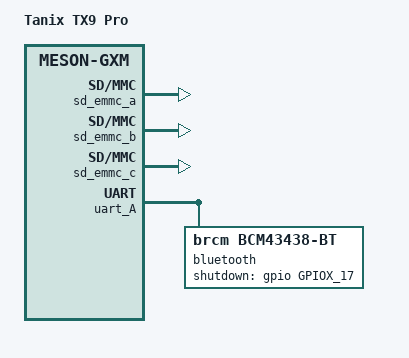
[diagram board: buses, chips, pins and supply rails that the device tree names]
// SPDX-License-Identifier: (GPL-2.0+ OR MIT)
/*
 * Copyright (c) 2022 Flippy
 */

/dts-v1/;

#include "meson-gxm-q200.dts"

/ {
	compatible = "tanix,tx9-pro", "amlogic,gxm";
	model = "Tanix TX9 Pro";
	
	openvfd {
		compatible = "open,vfd";
		dev_name = "openvfd";
                status = "okay";
        };
};

&ethmac {
	snps,aal;
	snps,txpbl = <0x8>;
	snps,rxpbl = <0x8>;
};

&sd_emmc_a {
        status = "okay";
};

&sd_emmc_b {
        status = "okay";
};

&sd_emmc_c {
        status = "okay";
};

&uart_A {
	status = "okay";
	pinctrl-0 = <&uart_a_pins>, <&uart_a_cts_rts_pins>;
	pinctrl-names = "default";
	uart-has-rtscts;

	bluetooth {
		compatible = "brcm,bcm43438-bt";
		shutdown-gpios = <&gpio GPIOX_17 GPIO_ACTIVE_HIGH>;
		max-speed = <2000000>;
		clocks = <&wifi32k>;
		clock-names = "lpo";
	};
};
